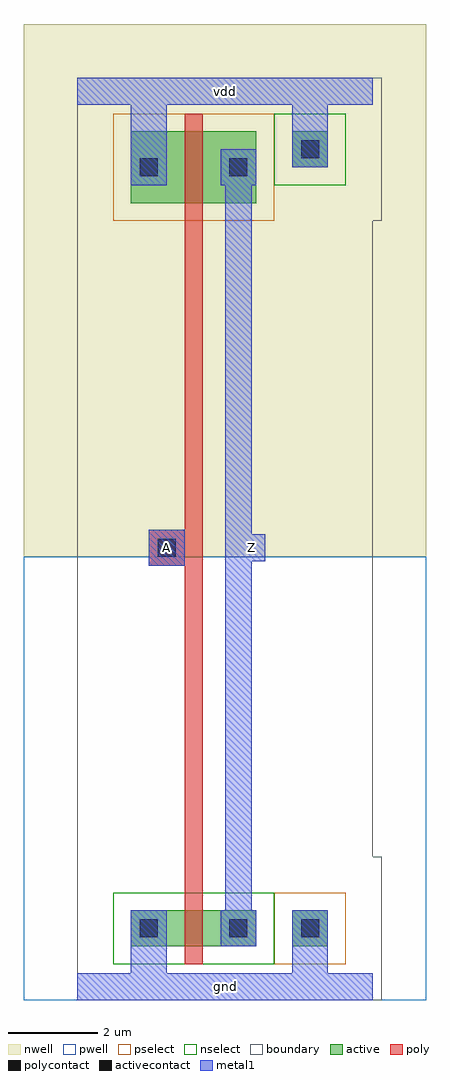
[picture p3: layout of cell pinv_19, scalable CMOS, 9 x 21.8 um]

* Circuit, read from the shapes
.subckt pinv_19 A Z gnd vdd
M1 Z A gnd gnd nfet w=0.8u l=0.4u
M2 Z A vdd vdd pfet w=1.6u l=0.4u
.ends

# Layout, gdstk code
import gdstk
lib = gdstk.Library(unit=1e-6, precision=1e-09)
def R(c, l, rs):  # rectangles x0, y0, x1, y1
    for r in rs: c.add(gdstk.rectangle(r[:2], r[2:], *l))
pwell = (41, 0)
nwell = (42, 0)
active = (43, 0)
pselect = (44, 0)
nselect = (45, 0)
poly = (46, 0)
polycontact = (47, 0)
activecontact = (48, 0)
metal1 = (49, 0)
boundary = (63, 0)

contact_10 = lib.new_cell('contact_10')
R(contact_10, nwell, [(-1.2,-1.2,2,2)])
R(contact_10, active, [(0,0,0.8,0.8)])
R(contact_10, pselect, [(-0.4,-0.4,1.2,1.2)])
R(contact_10, activecontact, [(0.2,0.2,0.6,0.6)])
R(contact_10, metal1, [(0,0,0.8,0.8)])
R(contact_10, boundary, [(-1.2,-1.2,2,2)])

pmos_m1_w1_600_sm1_dm1_d = lib.new_cell('pmos_m1_w1_600_sm1_dm1_da_p')
R(pmos_m1_w1_600_sm1_dm1_d, nwell, [(-1.2,-1.2,4,2.8)])
R(pmos_m1_w1_600_sm1_dm1_d, active, [(0,0,2.8,1.6)])
R(pmos_m1_w1_600_sm1_dm1_d, pselect, [(-0.4,-0.4,3.2,2)])
R(pmos_m1_w1_600_sm1_dm1_d, poly, [(1.2,-0.4,1.6,2), (1.2,-0.4,1.6,2)])
R(pmos_m1_w1_600_sm1_dm1_d, metal1, [(0,0.4,0.8,1.2), (2,0.4,2.8,1.2)])
R(pmos_m1_w1_600_sm1_dm1_d, boundary, [(-1.2,-1.2,4,2.8)])
pmos_m1_w1_600_sm1_dm1_d.add(gdstk.Reference(contact_10, (0,0.4)))
pmos_m1_w1_600_sm1_dm1_d.add(gdstk.Reference(contact_10, (2,0.4)))
pmos_m1_w1_600_sm1_dm1_d.add(gdstk.Label('G', (1.4,0.8), layer=46, texttype=0))
pmos_m1_w1_600_sm1_dm1_d.add(gdstk.Label('S', (0.4,0.8), layer=49, texttype=0))
pmos_m1_w1_600_sm1_dm1_d.add(gdstk.Label('D', (2.4,0.8), layer=49, texttype=0))

contact_9 = lib.new_cell('contact_9')
R(contact_9, pwell, [(-1.2,-1.2,2,2)])
R(contact_9, active, [(0,0,0.8,0.8)])
R(contact_9, nselect, [(-0.4,-0.4,1.2,1.2)])
R(contact_9, activecontact, [(0.2,0.2,0.6,0.6)])
R(contact_9, metal1, [(0,0,0.8,0.8)])
R(contact_9, boundary, [(-1.2,-1.2,2,2)])

nmos_m1_w0_800_sm1_dm1_d = lib.new_cell('nmos_m1_w0_800_sm1_dm1_da_p')
R(nmos_m1_w0_800_sm1_dm1_d, pwell, [(-1.2,-1.2,4,2)])
R(nmos_m1_w0_800_sm1_dm1_d, active, [(0,0,2.8,0.8)])
R(nmos_m1_w0_800_sm1_dm1_d, nselect, [(-0.4,-0.4,3.2,1.2)])
R(nmos_m1_w0_800_sm1_dm1_d, poly, [(1.2,-0.4,1.6,1.2), (1.2,-0.4,1.6,1.2)])
R(nmos_m1_w0_800_sm1_dm1_d, metal1, [(0,0,0.8,0.8), (2,0,2.8,0.8)])
R(nmos_m1_w0_800_sm1_dm1_d, boundary, [(-1.2,-1.2,4,2)])
nmos_m1_w0_800_sm1_dm1_d.add(gdstk.Reference(contact_9, (0,0)))
nmos_m1_w0_800_sm1_dm1_d.add(gdstk.Reference(contact_9, (2,0)))
nmos_m1_w0_800_sm1_dm1_d.add(gdstk.Label('G', (1.4,0.4), layer=46, texttype=0))
nmos_m1_w0_800_sm1_dm1_d.add(gdstk.Label('S', (0.4,0.4), layer=49, texttype=0))
nmos_m1_w0_800_sm1_dm1_d.add(gdstk.Label('D', (2.4,0.4), layer=49, texttype=0))

contact_11 = lib.new_cell('contact_11')
R(contact_11, nwell, [(-1.2,-1.2,2,2)])
R(contact_11, active, [(0,0,0.8,0.8)])
R(contact_11, nselect, [(-0.4,-0.4,1.2,1.2)])
R(contact_11, activecontact, [(0.2,0.2,0.6,0.6)])
R(contact_11, metal1, [(0,0,0.8,0.8)])
R(contact_11, boundary, [(-1.2,-1.2,2,2)])

contact_12 = lib.new_cell('contact_12')
R(contact_12, pwell, [(-1.2,-1.2,2,2)])
R(contact_12, active, [(0,0,0.8,0.8)])
R(contact_12, pselect, [(-0.4,-0.4,1.2,1.2)])
R(contact_12, activecontact, [(0.2,0.2,0.6,0.6)])
R(contact_12, metal1, [(0,0,0.8,0.8)])
R(contact_12, boundary, [(-1.2,-1.2,2,2)])

contact_13 = lib.new_cell('contact_13')
R(contact_13, poly, [(0,0,0.8,0.8)])
R(contact_13, polycontact, [(0.2,0.2,0.6,0.6)])
R(contact_13, metal1, [(0,0,0.8,0.8)])
R(contact_13, boundary, [(0,0,0.8,0.8)])

pinv_19 = lib.new_cell('pinv_19')
R(pinv_19, pwell, [(-1.2,-0.3,7.8,9.6)])
R(pinv_19, nwell, [(-1.2,9.6,7.8,21.5)])
R(pinv_19, poly, [(2.4,2.1,2.8,17.1), (2,9.4,2.4,10.2)])
R(pinv_19, metal1, [(0,-0.3,6.6,0.3), (1.2,-0.3,2,0.9), (4.8,0,5.6,1.3), (3.3,0.9,3.9,18.7), (1.6,9.4,2.4,10.2), (3.6,9.5,4.2,10.1), (1.2,17.9,2,20.3), (4.8,18.7,5.6,20), (0,19.7,6.6,20.3)])
R(pinv_19, boundary, [(0,0,6.6,20), (0,0,6.6,20)])
pinv_19.add(gdstk.Reference(pmos_m1_w1_600_sm1_dm1_d, (1.2,17.5)))
pinv_19.add(gdstk.Reference(nmos_m1_w0_800_sm1_dm1_d, (1.2,0.9)))
pinv_19.add(gdstk.Reference(contact_11, (4.8,18.3)))
pinv_19.add(gdstk.Reference(contact_12, (4.8,0.9)))
pinv_19.add(gdstk.Reference(contact_13, (1.6,9.4)))
pinv_19.add(gdstk.Label('A', (2,9.8), layer=49, texttype=0))
pinv_19.add(gdstk.Label('Z', (3.9,9.8), layer=49, texttype=0))
pinv_19.add(gdstk.Label('gnd', (3.3,0), layer=49, texttype=0))
pinv_19.add(gdstk.Label('vdd', (3.3,20), layer=49, texttype=0))

lib.write_gds('pinv_19.gds')
